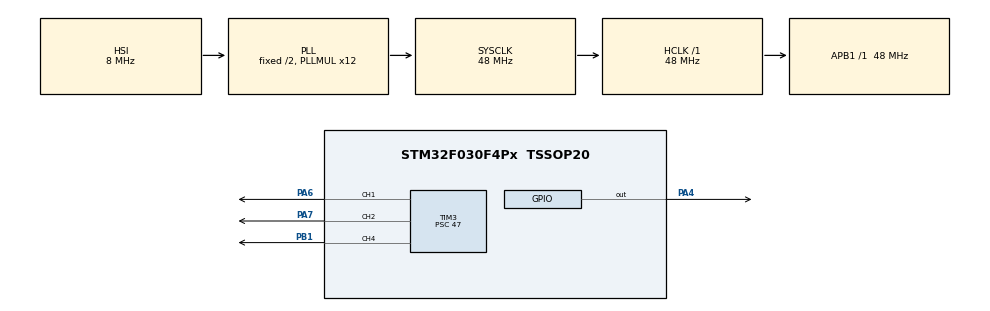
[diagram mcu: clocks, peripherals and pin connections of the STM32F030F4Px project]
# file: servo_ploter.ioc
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Mcu.Family=STM32F0
Mcu.Name=STM32F030F4Px
Mcu.Package=TSSOP20
PA13.Mode=Serial_Wire
PA13.Signal=SYS_SWDIO
PA14.Mode=Serial_Wire
PA14.Signal=SYS_SWCLK
PA4.Signal=GPIO_Output
PA6.Signal=S_TIM3_CH1
PA7.Signal=S_TIM3_CH2
PB1.Signal=S_TIM3_CH4
ProjectManager.HeapSize=0x200
ProjectManager.StackSize=0x400
ProjectManager.TargetToolchain=MDK-ARM V5.32
RCC.AHBFreq_Value=48000000
RCC.APB1Freq_Value=48000000
RCC.APB1TimFreq_Value=48000000
RCC.HCLKFreq_Value=48000000
RCC.PLLMUL=RCC_PLL_MUL12
RCC.SYSCLKFreq_VALUE=48000000
RCC.SYSCLKSource=RCC_SYSCLKSOURCE_PLLCLK
SH.S_TIM3_CH1.0=TIM3_CH1,PWM Generation1 CH1
SH.S_TIM3_CH2.0=TIM3_CH2,PWM Generation2 CH2
SH.S_TIM3_CH4.0=TIM3_CH4,PWM Generation4 CH4
TIM1.Prescaler=47
TIM3.Channel-PWM\ Generation1\ CH1=TIM_CHANNEL_1
TIM3.Channel-PWM\ Generation2\ CH2=TIM_CHANNEL_2
TIM3.Channel-PWM\ Generation4\ CH4=TIM_CHANNEL_4
TIM3.Prescaler=47
VP_TIM1_VS_ClockSourceINT.Mode=Internal
VP_TIM3_VS_ClockSourceINT.Mode=Internal
board=custom

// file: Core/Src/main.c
/* USER CODE BEGIN Header */
/**
  ******************************************************************************
  * @file           : main.c
  * @brief          : Main program body
  ******************************************************************************
  * @attention
  *
  * <h2><center>&copy; Copyright (c) 2024 STMicroelectronics.
  * All rights reserved.</center></h2>
  *
  * This software component is licensed by ST under BSD 3-Clause license,
  * the "License"; You may not use this file except in compliance with the
  * License. You may obtain a copy of the License at:
  *                        opensource.org/licenses/BSD-3-Clause
  *
  ******************************************************************************
  */
/* USER CODE END Header */
#include "main.h"

/* USER CODE BEGIN Includes */
#include <math.h>
/* USER CODE END Includes */

TIM_HandleTypeDef htim1;
TIM_HandleTypeDef htim3;

void SystemClock_Config(void);
static void MX_GPIO_Init(void);
static void MX_TIM3_Init(void);
static void MX_TIM1_Init(void);

/* USER CODE BEGIN 0 */
#define SERVO_TIM  			TIM3
#define SERVO1_CHANNEL	TIM_CHANNEL_1
#define SERVO2_CHANNEL	TIM_CHANNEL_2
#define SERVO3_CHANNEL	TIM_CHANNEL_4

#define SERVO1_OFFSET				(float)-3
#define SERVO2_OFFSET				(float)3
#define TIME_ROTATE					6		 // ms /1degree

#define PI 											(float)3.141592654
#define H												(float)12 //mm
#define R												(float)50 //mm
#define L												(float)50 //mm
#define M 											(float)20	//mm
#define ANGLE_C									(float)2*PI/3

typedef struct
{
	float anlge;
	float angle_offset;
	TIM_TypeDef * pwm_tim;
	uint32_t 	  tim_channel;
}SERVO_STRUCT;

SERVO_STRUCT servo_1, servo_2, servo_3;
uint8_t pen_status = 0;
int speed = TIME_ROTATE;

void PWM_SetFrequency(TIM_TypeDef * tim, int freq)
{
	tim->ARR = SystemCoreClock/((tim->PSC+1)*freq) - 1;
}

void PWM_SetDuty(TIM_TypeDef * tim, int channel, uint16_t pusle_width)
{
	if(channel == TIM_CHANNEL_1)
	{
		tim->CCR1 = pusle_width;
	}
	else if(channel == TIM_CHANNEL_2)
	{
		tim->CCR2 = pusle_width;
	}
	else if(channel == TIM_CHANNEL_3)
	{
		tim->CCR3 = pusle_width;
	}
	if(channel == TIM_CHANNEL_4)
	{
		tim->CCR4 = pusle_width;
	}
}
void PWM_Enable(TIM_TypeDef * tim, int channel)
{
	tim->CR1|= TIM_CR1_CEN;
	tim->BDTR|= TIM_BDTR_MOE;
	if(channel == TIM_CHANNEL_1)
	{
		tim->CCER |= TIM_CCER_CC1E;
	}
	else if(channel == TIM_CHANNEL_2)
	{
		tim->CCER |= TIM_CCER_CC2E;
	}
	else if(channel == TIM_CHANNEL_3)
	{
		tim->CCER |= TIM_CCER_CC3E;
	}
	else if(channel == TIM_CHANNEL_4)
	{
		tim->CCER |= TIM_CCER_CC4E;
	}
}

void servo_rotate(SERVO_STRUCT *servo, float roate_angle)
{
	servo->anlge = roate_angle;
	float angle = servo->anlge + servo->angle_offset;
	int pusle_width = 1000 + 1000.0/90 * (angle +45);
	PWM_SetDuty(servo->pwm_tim, servo->tim_channel, pusle_width);
}

void servo_init()
{
	servo_1.pwm_tim = TIM3;
	servo_1.tim_channel = TIM_CHANNEL_2;
	servo_1.angle_offset = SERVO1_OFFSET;

	servo_2.pwm_tim = TIM3;
	servo_2.tim_channel = TIM_CHANNEL_1;
	servo_2.angle_offset = SERVO2_OFFSET;

	servo_3.pwm_tim = TIM3;
	servo_3.tim_channel = TIM_CHANNEL_4;
	servo_3.angle_offset = 0;

	PWM_SetFrequency(SERVO_TIM, 50);
	PWM_Enable(SERVO_TIM, TIM_CHANNEL_1);
	PWM_Enable(SERVO_TIM, TIM_CHANNEL_2);
	PWM_Enable(SERVO_TIM, TIM_CHANNEL_4);

	servo_rotate(&servo_1, 0);
	servo_rotate(&servo_2, 0);
	servo_rotate(&servo_3, 0);
}

float dist(float x1, float y1, float x2, float y2)
{
	return sqrt( (x1-x2)*(x1-x2) + (y1-y2)*(y1-y2) );
}

uint8_t angle_check(float angle1, float angle2)
{
	if(angle1 == NAN) return 0;
	if(angle2 == NAN) return 0;
	float x1 = R*cos(angle1);
	float y1 = R*sin(angle1);
	float x2 = R*cos(angle2);
	float y2 = R*sin(angle2) + H;
	float d = dist(x1,y1,x2,y2);
	if(d <= 1) return 0;
	if(d >= 2*L-0.2) return 0;
	return 1;
}

void move_XY(float x, float y)
{
	float c = sqrt(L*L + M*M - 2*L*M*cos(ANGLE_C));
	float d = dist(x, y, 0, 0);
	float a = acos((R*R+d*d-c*c)/(2*R*d));
	float a2 = atan(y/x);
	float s1 =  a2 - a;
	float Xa = R*cos(s1);
	float Ya = R*sin(s1);
	float e1 = atan( (y-Ya)/(x-Xa));
	float e2 = acos( (L*L + c*c - M*M)/(2*L*c));
	float Xc = Xa + L*cos(e1+e2);
	float Yc = Ya + L*sin(e1+e2);
	float d2 = dist(Xc, Yc, 0, H);
	float b = acos( (R*R+ d2*d2 - L*L)/(2*R*d2));
	float b2 = atan((Yc-H)/Xc);
	float s2 = b + b2;
	if( angle_check(s1,s2) == 1 )
	{
		float angle_new = s1*180/PI;
		float angle_2_new = s2*180/PI;
		int time_rotate1 = speed*fabs(angle_new - servo_1.anlge);
		int time_rotate2 = speed*fabs(angle_2_new - servo_2.anlge);
		servo_rotate(&servo_1, angle_new);
		servo_rotate(&servo_2, angle_2_new);
		if(time_rotate1 >  time_rotate2)
		{
			HAL_Delay(time_rotate1);
		}
		else
		{
			HAL_Delay(time_rotate2);
		}
	}
}

void pen_ctrl(uint8_t en)
{
	pen_status = en;
	if(en == 1)
	{
		servo_rotate(&servo_3, -20);
	}
	else
	{
		servo_rotate(&servo_3, 0);
	}
	HAL_Delay(200);
}

void draw_line(float x1, float y1, float x2, float y2)
{
	float x, y, Dx, Dy;
	float x_div, y_div;
	int d = dist(x1,y1,x2,y2);
	Dx = x2-x1;
	Dy = y2-y1;
	x = x1;
	y = y1;
	x_div = Dx/d;
	y_div = Dy/d;
	move_XY(x, y);
	for(int i=0; i < d; i++)
	{
		x+=x_div;
		y+=y_div;
		move_XY(x, y);
	}
}

void drawRect(float x, float y, float h, float w)
{
	pen_ctrl(0);
	HAL_Delay(200);
	move_XY(x, y);
	pen_ctrl(1);
	HAL_Delay(200);
	draw_line(x,y, x+h,y);
	draw_line(x+h,y, x+h,y+w);
	draw_line(x+h,y+w, x,y+w);
	draw_line(x,y+w, x,y);
	pen_ctrl(0);
	HAL_Delay(200);
}

void drawCircle(float x0, float y0, float r)
{
	float a = 0;
	float x1 = x0 + r*cos(a);
	float y1 = y0 + r*sin(a);
	float div = 2*PI/360;
	pen_ctrl(0);
	move_XY(x1, y1);
	pen_ctrl(1);
	for(int i=0; i<= 360; i++)
	{
		a+=div;
		float x2 = x0 + r*cos(a);
		float y2 = y0 + r*sin(a);
		draw_line(x1,y1,x2,y2);
		x1 = x2;
		y1 = y2;
	}
}

int buffer_lenght = 235;
uint8_t bufferXY[1000][2] = {{7,19},{8,19},{8,18},{9,18},{9,17},{10,17},{10,16},{11,15},{11,14},{12,14},{12,13},{13,12},{14,11},{15,10},{16,10},{16,9},{17,9},{17,8},{18,8},{18,7},{19,7},{19,6},{20,6},{20,5},{21,5},{21,4},{21,5},{22,5},{22,6},{22,7},{22,8},{23,9},{23,10},{23,11},{24,11},{24,12},{24,13},{25,13},{25,14},{25,15},{26,15},{26,16},{26,17},{26,18},{27,18},{27,19},{26,18},{25,18},{24,17},{23,17},{22,17},{22,16},{21,16},{20,16},{19,16},{19,15},{18,15},{17,15},{17,14},{16,14},{15,14},{14,14},{14,13},{13,13},{12,13},{12,12},{11,12},{10,12},{9,11},{8,11},{7,11},{7,10},{6,10},{7,10},{9,10},{11,10},{12,10},{13,10},{14,10},{15,9},{16,9},{17,9},{18,9},{19,9},{20,9},{21,9},{22,9},{23,9},{24,9},{25,9},{26,8},{28,8},{29,8},{30,8},{30,9},{29,9},{27,10},{26,11},{25,11},{24,12},{23,12},{22,12},{21,13},{20,13},{19,13},{19,14},{18,14},{17,14},{16,15},{15,15},{14,16},{13,16},{13,17},{12,17},{11,17},{11,18},{10,18},{9,18},{9,19},{8,19},{1,23},{1,22},{1,21},{1,20},{1,19},{1,18},{1,17},{1,16},{1,15},{1,14},{1,13},{1,12},{1,11},{1,10},{1,9},{1,8},{1,7},{1,6},{1,5},{1,4},{1,3},{1,2},{1,1},{2,1},{3,1},{5,1},{6,1},{7,1},{8,1},{9,1},{10,1},{11,1},{12,1},{13,1},{14,1},{15,1},{16,1},{17,1},{18,1},{19,1},{20,1},{21,1},{22,1},{23,1},{24,1},{25,1},{26,1},{27,1},{28,1},{29,1},{30,1},{31,1},{32,1},{34,1},{36,1},{37,1},{38,1},{38,2},{38,3},{38,4},{37,5},{37,6},{37,7},{37,8},{37,9},{37,10},{37,11},{37,12},{37,13},{37,14},{37,15},{37,16},{37,17},{37,18},{37,19},{37,20},{37,21},{37,22},{37,23},{36,23},{35,23},{33,23},{31,23},{29,23},{28,23},{27,23},{26,23},{25,23},{24,23},{23,23},{22,23},{21,23},{20,23},{19,23},{18,23},{17,23},{16,23},{15,23},{14,23},{13,23},{12,23},{11,23},{10,23},{9,23},{8,23},{8,22},{7,22},{6,22},{5,22},{4,22},{3,22},{3,23},{2,23},{1,23},{1,22}};

void drawBuffer(int x_offset, int y_offset, int size)
{
	pen_ctrl(0);
	int x1,y1,x2,y2;
	x1 = bufferXY[0][1] + x_offset;
	y1 = bufferXY[0][0]+y_offset;
	move_XY(x1, y1);
	pen_ctrl(1);
	for(int i=1; i<size; i++)
	{
		x1 = bufferXY[i-1][1]+x_offset;
		y1 = bufferXY[i-1][0]+y_offset;
		x2 = bufferXY[i][1]+x_offset;
		y2 = bufferXY[i][0]+y_offset;
		if(dist(x1, y1, x2, y2) <= 4)
		{
			if(pen_status == 0)
			{
				pen_ctrl(1);
			}
			move_XY(x2, y2);
		}
		else
		{
			pen_ctrl(0);
			move_XY(x2, y2);
			pen_ctrl(1);
		}
	}
	pen_ctrl(0);
}

void servo_setRotateSpeed(int s)
{
	speed = s;
}

/* USER CODE END 0 */

int main(void)
{

  /* MCU Configuration--------------------------------------------------------*/

  /* Reset of all peripherals, Initializes the Flash interface and the Systick. */
  HAL_Init();

  /* Configure the system clock */
  SystemClock_Config();

  /* Initialize all configured peripherals */
  MX_GPIO_Init();
  MX_TIM3_Init();
  MX_TIM1_Init();
  /* USER CODE BEGIN 2 */
	servo_init();
	HAL_Delay(2000);
  /* USER CODE END 2 */

  /* Infinite loop */
  /* USER CODE BEGIN WHILE */
//test
//	int x = 90, y = - 10;
//	for(int i=0; i<10; i++)
//	{
//		drawRect(x,y,20,20);
//		x+=1;
//		y+=1;
//	}
//	drawRect(90,-10,25,40);
  //drawCircle(110,0,15);
//	drawBuffer(90,0, buffer_lenght);
//	servo_setRotateSpeed(10);
//	draw_line(100, 20, 130, 0);
  while (1)
  {
    /* USER CODE END WHILE */

  }
}

void SystemClock_Config(void)
{
  RCC_OscInitTypeDef RCC_OscInitStruct = {0};
  RCC_ClkInitTypeDef RCC_ClkInitStruct = {0};

  /** Initializes the RCC Oscillators according to the specified parameters
  * in the RCC_OscInitTypeDef structure.
  */
  RCC_OscInitStruct.OscillatorType = RCC_OSCILLATORTYPE_HSI;
  RCC_OscInitStruct.HSIState = RCC_HSI_ON;
  RCC_OscInitStruct.HSICalibrationValue = RCC_HSICALIBRATION_DEFAULT;
  RCC_OscInitStruct.PLL.PLLState = RCC_PLL_ON;
  RCC_OscInitStruct.PLL.PLLSource = RCC_PLLSOURCE_HSI;
  RCC_OscInitStruct.PLL.PLLMUL = RCC_PLL_MUL12;
  RCC_OscInitStruct.PLL.PREDIV = RCC_PREDIV_DIV1;
  if (HAL_RCC_OscConfig(&RCC_OscInitStruct) != HAL_OK)
  {
    Error_Handler();
  }
  /** Initializes the CPU, AHB and APB buses clocks
  */
  RCC_ClkInitStruct.ClockType = RCC_CLOCKTYPE_HCLK|RCC_CLOCKTYPE_SYSCLK
                              |RCC_CLOCKTYPE_PCLK1;
  RCC_ClkInitStruct.SYSCLKSource = RCC_SYSCLKSOURCE_PLLCLK;
  RCC_ClkInitStruct.AHBCLKDivider = RCC_SYSCLK_DIV1;
  RCC_ClkInitStruct.APB1CLKDivider = RCC_HCLK_DIV1;

  if (HAL_RCC_ClockConfig(&RCC_ClkInitStruct, FLASH_LATENCY_1) != HAL_OK)
  {
    Error_Handler();
  }
}

static void MX_TIM1_Init(void)
{

  TIM_ClockConfigTypeDef sClockSourceConfig = {0};
  TIM_MasterConfigTypeDef sMasterConfig = {0};

  htim1.Instance = TIM1;
  htim1.Init.Prescaler = 47;
  htim1.Init.CounterMode = TIM_COUNTERMODE_UP;
  htim1.Init.Period = 65535;
  htim1.Init.ClockDivision = TIM_CLOCKDIVISION_DIV1;
  htim1.Init.RepetitionCounter = 0;
  htim1.Init.AutoReloadPreload = TIM_AUTORELOAD_PRELOAD_DISABLE;
  if (HAL_TIM_Base_Init(&htim1) != HAL_OK)
  {
    Error_Handler();
  }
  sClockSourceConfig.ClockSource = TIM_CLOCKSOURCE_INTERNAL;
  if (HAL_TIM_ConfigClockSource(&htim1, &sClockSourceConfig) != HAL_OK)
  {
    Error_Handler();
  }
  sMasterConfig.MasterOutputTrigger = TIM_TRGO_RESET;
  sMasterConfig.MasterSlaveMode = TIM_MASTERSLAVEMODE_DISABLE;
  if (HAL_TIMEx_MasterConfigSynchronization(&htim1, &sMasterConfig) != HAL_OK)
  {
    Error_Handler();
  }

}

static void MX_TIM3_Init(void)
{

  TIM_ClockConfigTypeDef sClockSourceConfig = {0};
  TIM_MasterConfigTypeDef sMasterConfig = {0};
  TIM_OC_InitTypeDef sConfigOC = {0};

  htim3.Instance = TIM3;
  htim3.Init.Prescaler = 47;
  htim3.Init.CounterMode = TIM_COUNTERMODE_UP;
  htim3.Init.Period = 65535;
  htim3.Init.ClockDivision = TIM_CLOCKDIVISION_DIV1;
  htim3.Init.AutoReloadPreload = TIM_AUTORELOAD_PRELOAD_DISABLE;
  if (HAL_TIM_Base_Init(&htim3) != HAL_OK)
  {
    Error_Handler();
  }
  sClockSourceConfig.ClockSource = TIM_CLOCKSOURCE_INTERNAL;
  if (HAL_TIM_ConfigClockSource(&htim3, &sClockSourceConfig) != HAL_OK)
  {
    Error_Handler();
  }
  if (HAL_TIM_PWM_Init(&htim3) != HAL_OK)
  {
    Error_Handler();
  }
  sMasterConfig.MasterOutputTrigger = TIM_TRGO_RESET;
  sMasterConfig.MasterSlaveMode = TIM_MASTERSLAVEMODE_DISABLE;
  if (HAL_TIMEx_MasterConfigSynchronization(&htim3, &sMasterConfig) != HAL_OK)
  {
    Error_Handler();
  }
  sConfigOC.OCMode = TIM_OCMODE_PWM1;
  sConfigOC.Pulse = 0;
  sConfigOC.OCPolarity = TIM_OCPOLARITY_HIGH;
  sConfigOC.OCFastMode = TIM_OCFAST_DISABLE;
  if (HAL_TIM_PWM_ConfigChannel(&htim3, &sConfigOC, TIM_CHANNEL_1) != HAL_OK)
  {
    Error_Handler();
  }
  if (HAL_TIM_PWM_ConfigChannel(&htim3, &sConfigOC, TIM_CHANNEL_2) != HAL_OK)
  {
    Error_Handler();
  }
  if (HAL_TIM_PWM_ConfigChannel(&htim3, &sConfigOC, TIM_CHANNEL_4) != HAL_OK)
  {
    Error_Handler();
  }
  HAL_TIM_MspPostInit(&htim3);

}

static void MX_GPIO_Init(void)
{
  GPIO_InitTypeDef GPIO_InitStruct = {0};

  /* GPIO Ports Clock Enable */
  __HAL_RCC_GPIOA_CLK_ENABLE();
  __HAL_RCC_GPIOB_CLK_ENABLE();

  /*Configure GPIO pin Output Level */
  HAL_GPIO_WritePin(GPIOA, GPIO_PIN_4, GPIO_PIN_RESET);

  /*Configure GPIO pin : PA4 */
  GPIO_InitStruct.Pin = GPIO_PIN_4;
  GPIO_InitStruct.Mode = GPIO_MODE_OUTPUT_PP;
  GPIO_InitStruct.Pull = GPIO_NOPULL;
  GPIO_InitStruct.Speed = GPIO_SPEED_FREQ_LOW;
  HAL_GPIO_Init(GPIOA, &GPIO_InitStruct);

}

void Error_Handler(void)
{
  __disable_irq();
  while (1)
  {
  }
}

/************************ (C) COPYRIGHT STMicroelectronics *****END OF FILE****/
